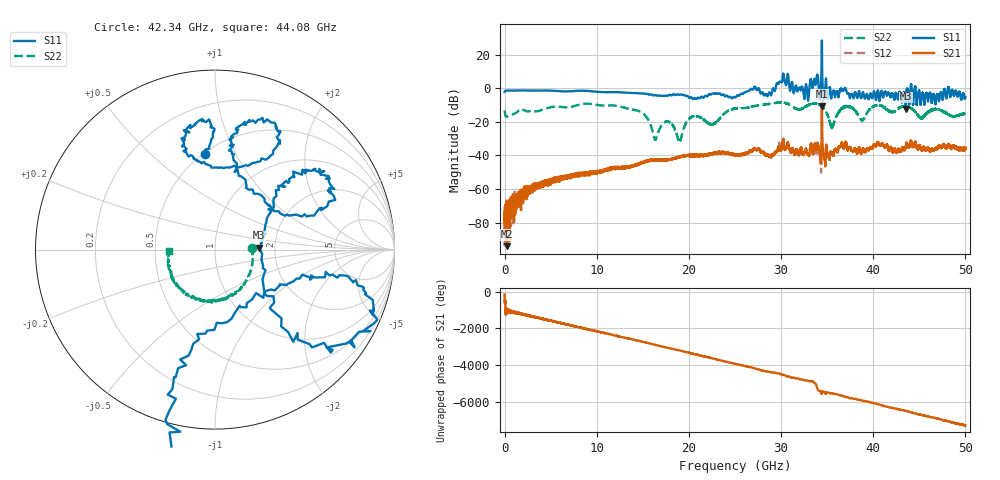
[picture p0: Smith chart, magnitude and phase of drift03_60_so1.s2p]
!Created with skrf (http://scikit-rf.org).
# Hz S RI R 50.0
!freq ReS11 ImS11 ReS21 ImS21 ReS12 ImS12 ReS22 ImS22
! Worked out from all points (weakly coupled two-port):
!   10000 points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, 5.3 MHz to 50 GHz, reference 50 ohm
!   highest |S21| = -10.74 dB at 34.43 GHz (marker M1); lowest = -94.1 dB at 265.3 MHz (marker M2)
!   lowest |S11| = -12.1 dB at 43.52 GHz (marker M3), VSWR 1.66, Z = 82.8 + j1.99 ohm
!   |S11| at or under -10 dB: 43.48992 GHz to 43.55119 GHz (61.27 MHz wide, 0.141 % of centre); 44.70733 GHz to 44.71072 GHz (3.389 MHz wide, 0.00758 % of centre)
!   |S22| runs from -32.4 to -8.4 dB; largest |S21 - S12| = 0.088
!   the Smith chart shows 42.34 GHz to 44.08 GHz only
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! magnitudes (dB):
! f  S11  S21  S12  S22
! 5.3 MHz  -2.1  -79.5  -77.3  -13.3
! 265.3 MHz  -1.4  -94.1  -80.1  -17.0
! 2.175 GHz  -1.3  -61.1  -61.4  -13.1
! 8.34 GHz  -1.5  -51.3  -52.1  -9.5
! 14.57 GHz  -3.1  -45.4  -45.3  -13.6
! 16.67 GHz  -4.4  -42.9  -42.8  -26.3
! 17.79 GHz  -4.3  -42.6  -42.5  -19.9
! 19 GHz  -3.9  -41.0  -41.1  -32.2
! 20.3 GHz  -5.6  -40.0  -39.4  -17.1
! 22.55 GHz  -3.2  -39.0  -39.2  -21.6
! 25.01 GHz  -5.5  -39.5  -40.2  -12.1
! 30.14 GHz  4.4  -33.6  -34.1  -8.5
! 33.34 GHz  2.7  -35.0  -35.1  -9.3
! 34.43 GHz  28.4  -10.7  -13.1  -10.9
! 35.52 GHz  -3.6  -38.6  -38.7  -23.2
! 36.95 GHz  0.2  -33.1  -33.1  -11.0
! 38.78 GHz  -4.7  -37.8  -37.9  -19.1
! 40.19 GHz  -3.7  -34.0  -34.3  -10.5
! 41.67 GHz  -2.9  -36.7  -36.6  -13.1
! 43.52 GHz  -12.1  -35.3  -35.2  -10.8
! 45.2 GHz  -7.2  -36.5  -36.1  -18.3
! 50 GHz  -5.2  -35.4  -35.5  -15.4
